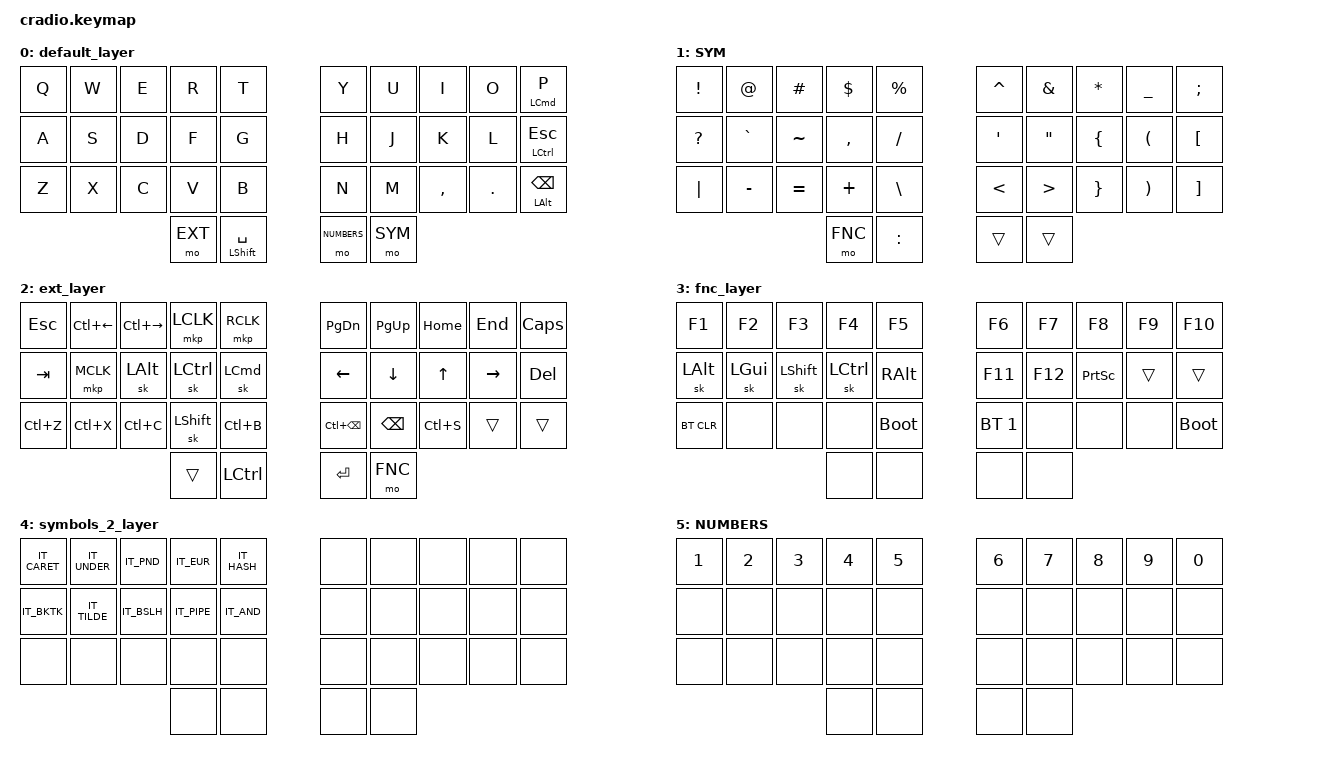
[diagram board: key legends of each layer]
/*
 * Copyright (c) 2020 The ZMK Contributors
 *
 * SPDX-License-Identifier: MIT
 */

#include <behaviors.dtsi>
#include <dt-bindings/zmk/keys.h>
#include <dt-bindings/zmk/bt.h>
#include <dt-bindings/zmk/mouse.h>
#include "italian.keycodes"

&mt {
   //  flavor = "tap-preferred";
   // tapping_term_ms = <200>;
};

#define SK(KEY) &nk KEY KEY
// Keep sticky keys active for a long time so they effectively do not time out
#define STICKY_KEY_TIMEOUT 60000

&sk {
  release-after-ms = <STICKY_KEY_TIMEOUT>;
};

&caps_word {
  continue-list = <UNDERSCORE MINUS BACKSPACE>;
}; 



/* KEY POSITIONS
  ╭───────────────────────╮          ╭───────────────────────╮
  │      0   1   2  3   4 │          │  5   6   7   8   9    │
  │     10  11 12  13  14 │          │ 15  16  17  18  19    │
  │     20  21  22  23 24  ───╮ ╭────  25  26  27  28  29    │
  ╰─────────────────╮  30  31 │ │ 32  33 ╭───────────────────╯
                    ╰─────────╯ ╰────────╯           
*/

&mt {
  //  flavor = "tap-preferred";
   // tapping_term_ms = <200>;
};

// Layer definitions
    #define BASE 0
    #define SYM 1
    #define EXT 2
    #define FNC 3
    #define SYM2 4
    #define NUMBERS 5
// -----------------

/ { 
    macros {
        zed_em_kay: zed_em_kay {
            label = "ZM_zed_em_kay";
            compatible = "zmk,behavior-macro";
            #binding-cells = <0>;
            bindings
                = <&macro_press &mkp MCLK>
                , <&macro_tap &kp R>
                , <&macro_release &kp LSHFT>
                ;
        };
    };
    combos {
        compatible = "zmk,combos";
        // combo into Function layer
        combo_fnc {
            timeout-ms = <300>;
            key-positions = <32 33>;
            bindings = <&mo FNC>;
        };
        // combo into sym2 layer
        combo_sym2 {
            timeout-ms = <200>;
            key-positions = <31 33>;
            bindings = <&mo SYM2>;
        };

        active_scrolling {
            timeout-ms = <200>;
            key-positions = <2 3>;
            bindings = <&mkp MCLK>;
        };
    };

    

    behaviors {
        // Sticky key on tap, normal key on hold
        // Useful for modifier-clicking without the modifier remaining active
         nk: not_so_sticky_key {
           compatible = "zmk,behavior-hold-tap";
           label = "NOT_SO_STICKY_KEY";
           #binding-cells = <2>;
           tapping_term_ms = <200>;
           flavor = "tap-preferred";
           bindings = <&kp>, <&sk>;
         };

        skq: sticky_key_quick_release {
          compatible = "zmk,behavior-sticky-key";
          label = "STICKY_KEY_QUICK_RELEASE";
          #binding-cells = <1>;
          bindings = <&kp>;
          quick-release;
          release-after-ms = <STICKY_KEY_TIMEOUT>;
        };
    };

    keymap {
        compatible = "zmk,keymap";
                
        // Base alpha layer
        default_layer {
            bindings = <
                // ╭─────────────┬─────────────┬─────────────┬─────────────┬─────────────╮   ╭─────────────┬─────────────┬─────────────┬─────────────┬─────────────╮
                    &kp Q          &kp W         &kp E         &kp R            &kp T          &kp Y         &kp U         &kp I         &kp O         &mt LCMD P 
                    &kp A          &kp S         &kp D         &kp F            &kp G          &kp H         &kp J         &kp K         &kp L         &mt LCTRL ESC
                    &kp Z          &kp X        &kp C          &kp V            &kp B          &kp N         &kp M         &kp COMMA     &kp DOT       &mt LALT BSPC
                // ╰─────────────┴─────────────┴─────────────┼─────────────┼─────────────┤   ├─────────────┼─────────────┼─────────────┴─────────────┴─────────────╯
                                                              &mo EXT      &mt LSHIFT SPACE   &mo NUMBERS     &mo SYM  
                //                                           ╰─────────────┴─────────────╯   ╰─────────────┴─────────────╯
            >;
        };

        //frequency symbols
        symbols {
            label = "SYM";
            bindings = <
                // ╭─────────────┬─────────────┬─────────────┬─────────────┬─────────────╮   ╭─────────────┬─────────────┬─────────────┬─────────────┬─────────────╮
                    &kp EXCL       &kp AT        &kp HASH      &kp DLLR      &kp PRCNT		   &kp CARET     &kp AMPS      &kp ASTRK     &kp UNDER     &kp SEMI
                    &kp QUESTION   &kp GRAVE     &kp TILDE   &kp COMMA       &kp SLASH         &kp SQT       &kp DQT       &kp LBRC      &kp LPAR      &kp LBKT
                    &kp PIPE       &kp MINUS     &kp EQUAL     &kp PLUS      &kp BSLH          &kp LT        &kp GT        &kp RBRC      &kp RPAR      &kp RBKT
                // ╰─────────────┴─────────────┴─────────────┼─────────────┼─────────────┤   ├─────────────┼─────────────┼─────────────┴─────────────┴─────────────╯
                                                              &mo FNC        &kp COLON            &trans       &trans
                //                                           ╰─────────────┴─────────────╯   ╰─────────────┴─────────────╯
            >;
        };

        // Main modifiers and arrow keys
        ext_layer {
            bindings = <
                // ╭─────────────┬─────────────┬─────────────┬─────────────┬─────────────╮   ╭─────────────┬─────────────┬─────────────┬─────────────┬─────────────╮
                     &kp ESC       &kp LC(LEFT) &kp LC(RIGHT)   &mkp LCLK     &mkp RCLK         &kp PG_DN    &kp PG_UP      &kp HOME      &kp END       &kp CAPS
                     &kp TAB       &mkp MCLK     &sk LALT        &sk LCTRL     &sk LCMD 		    &kp LEFT     &kp DOWN       &kp UP        &kp RIGHT     &kp DEL
                     &kp LC(Z)     &kp LC(X)    &kp LC(C)       &sk LSHIFT    &kp LC(B)         &kp LC(BSPC) &kp BSPC       &kp LC(S)     &trans        &trans
                // ╰─────────────┴─────────────┴─────────────┼─────────────┼─────────────┤   ├─────────────┼─────────────┼─────────────┴─────────────┴─────────────╯
                                                                &trans        &kp LCTRL         &kp ENTER    &mo FNC 
                //                                           ╰─────────────┴─────────────╯   ╰─────────────┴─────────────╯
            >;
		};

        // Function keys with modifiers
        fnc_layer {
            bindings = <
                &kp F1 &kp F2 &kp F3 &kp F4 &kp F5                          &kp F6 &kp F7 &kp F8 &kp F9 &kp F10 
                &sk LALT &sk LGUI &sk LSHIFT &sk LCTRL &kp RALT             &kp F11 &kp F12  &kp PRINTSCREEN &trans &trans
                &bt BT_CLR &none &none &none &bootloader  				    &bt BT_SEL 1 &none &none &none &bootloader 
                                                    &none &none             &none &none  
            >;
		};

        // Low frequency symbols.
        symbols_2_layer {
            bindings = <
                &kp IT_CARET &kp IT_UNDER &kp IT_PND &kp IT_EUR &kp IT_HASH              &none &none &none &none &none 
                &kp IT_BKTK &kp IT_TILDE &kp IT_BSLH &kp IT_PIPE &kp IT_AND             &none &none &none &none &none
                &none &none &none &none &none				                            &none &none &none &none &none
                                                                &none &none             &none &none 
            >;
		};    

        // Used to type regional accents.
        numbers_layer {
            label = "NUMBERS";
            bindings = <
                // ╭─────────────┬─────────────┬─────────────┬─────────────┬─────────────╮   ╭─────────────┬─────────────┬─────────────┬─────────────┬─────────────╮
                    &kp N1        &kp N2         &kp N3        &kp N4        &kp N5            &kp N6        &kp N7        &kp N8        &kp N9        &kp N0          
                    &none          &none         &none         &none         &none             &none         &none         &none         &none         &none
                    &none          &none         &none         &none         &none             &none         &none         &none         &none         &none
                // ╰─────────────┴─────────────┴─────────────┼─────────────┼─────────────┤   ├─────────────┼─────────────┼─────────────┴─────────────┴─────────────╯
                                                              &none         &none             &none         &none
                //                                           ╰─────────────┴─────────────╯   ╰─────────────┴─────────────╯
            >;
		};

    };
};
